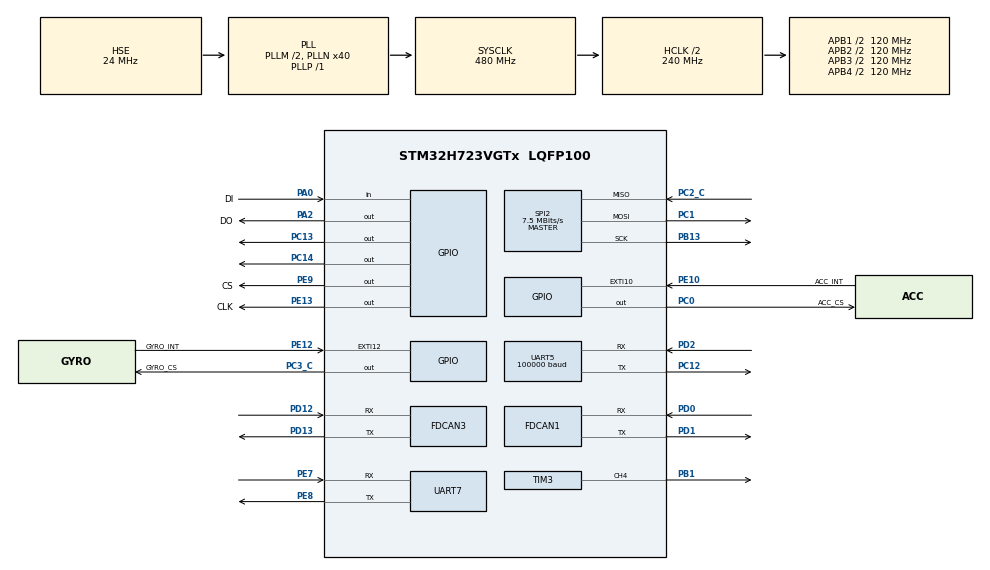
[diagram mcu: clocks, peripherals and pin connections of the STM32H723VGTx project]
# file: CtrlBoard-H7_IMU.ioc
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Dma.Request0=SPI2_RX
Dma.Request1=SPI2_TX
Dma.Request2=UART5_RX
Dma.SPI2_RX.0.Direction=DMA_PERIPH_TO_MEMORY
Dma.SPI2_RX.0.EventEnable=DISABLE
Dma.SPI2_RX.0.FIFOMode=DMA_FIFOMODE_DISABLE
Dma.SPI2_RX.0.Instance=DMA1_Stream0
Dma.SPI2_RX.0.MemDataAlignment=DMA_MDATAALIGN_BYTE
Dma.SPI2_RX.0.MemInc=DMA_MINC_ENABLE
Dma.SPI2_RX.0.Mode=DMA_NORMAL
Dma.SPI2_RX.0.PeriphDataAlignment=DMA_PDATAALIGN_BYTE
Dma.SPI2_RX.0.PeriphInc=DMA_PINC_DISABLE
Dma.SPI2_RX.0.Polarity=HAL_DMAMUX_REQ_GEN_RISING
Dma.SPI2_RX.0.Priority=DMA_PRIORITY_VERY_HIGH
Dma.SPI2_RX.0.RequestNumber=1
Dma.SPI2_RX.0.SignalID=NONE
Dma.SPI2_RX.0.SyncEnable=DISABLE
Dma.SPI2_RX.0.SyncPolarity=HAL_DMAMUX_SYNC_NO_EVENT
Dma.SPI2_RX.0.SyncRequestNumber=1
Dma.SPI2_RX.0.SyncSignalID=NONE
Dma.SPI2_TX.1.Direction=DMA_MEMORY_TO_PERIPH
Dma.SPI2_TX.1.EventEnable=DISABLE
Dma.SPI2_TX.1.FIFOMode=DMA_FIFOMODE_DISABLE
Dma.SPI2_TX.1.Instance=DMA1_Stream2
Dma.SPI2_TX.1.MemDataAlignment=DMA_MDATAALIGN_BYTE
Dma.SPI2_TX.1.MemInc=DMA_MINC_ENABLE
Dma.SPI2_TX.1.Mode=DMA_NORMAL
Dma.SPI2_TX.1.PeriphDataAlignment=DMA_PDATAALIGN_BYTE
Dma.SPI2_TX.1.PeriphInc=DMA_PINC_DISABLE
Dma.SPI2_TX.1.Polarity=HAL_DMAMUX_REQ_GEN_RISING
Dma.SPI2_TX.1.Priority=DMA_PRIORITY_HIGH
Dma.SPI2_TX.1.RequestNumber=1
Dma.SPI2_TX.1.SignalID=NONE
Dma.SPI2_TX.1.SyncEnable=DISABLE
Dma.SPI2_TX.1.SyncPolarity=HAL_DMAMUX_SYNC_NO_EVENT
Dma.SPI2_TX.1.SyncRequestNumber=1
Dma.SPI2_TX.1.SyncSignalID=NONE
Dma.UART5_RX.2.Direction=DMA_PERIPH_TO_MEMORY
Dma.UART5_RX.2.EventEnable=DISABLE
Dma.UART5_RX.2.FIFOMode=DMA_FIFOMODE_DISABLE
Dma.UART5_RX.2.Instance=DMA1_Stream1
Dma.UART5_RX.2.MemDataAlignment=DMA_MDATAALIGN_BYTE
Dma.UART5_RX.2.MemInc=DMA_MINC_ENABLE
Dma.UART5_RX.2.Mode=DMA_NORMAL
Dma.UART5_RX.2.PeriphDataAlignment=DMA_PDATAALIGN_BYTE
Dma.UART5_RX.2.PeriphInc=DMA_PINC_DISABLE
Dma.UART5_RX.2.Polarity=HAL_DMAMUX_REQ_GEN_RISING
Dma.UART5_RX.2.Priority=DMA_PRIORITY_LOW
Dma.UART5_RX.2.RequestNumber=1
Dma.UART5_RX.2.SignalID=NONE
Dma.UART5_RX.2.SyncEnable=DISABLE
Dma.UART5_RX.2.SyncPolarity=HAL_DMAMUX_SYNC_NO_EVENT
Dma.UART5_RX.2.SyncRequestNumber=1
Dma.UART5_RX.2.SyncSignalID=NONE
FDCAN1.AutoRetransmission=ENABLE
FDCAN1.CalculateBaudRateNominal=1000000
FDCAN1.CalculateTimeBitNominal=1000
FDCAN1.CalculateTimeQuantumNominal=40.0
FDCAN1.DataPrescaler=1
FDCAN1.DataSyncJumpWidth=2
FDCAN1.DataTimeSeg1=13
FDCAN1.DataTimeSeg2=2
FDCAN1.ExtFiltersNbr=4
FDCAN1.NominalPrescaler=4
FDCAN1.NominalSyncJumpWidth=20
FDCAN1.NominalTimeSeg1=19
FDCAN1.NominalTimeSeg2=5
FDCAN1.ProtocolException=ENABLE
FDCAN1.RxFifo0ElmtSize=FDCAN_DATA_BYTES_8
FDCAN1.RxFifo0ElmtsNbr=8
FDCAN1.RxFifo1ElmtSize=FDCAN_DATA_BYTES_8
FDCAN1.RxFifo1ElmtsNbr=8
FDCAN1.StdFiltersNbr=4
FDCAN1.TxBuffersNbr=8
FDCAN1.TxElmtSize=FDCAN_DATA_BYTES_8
FDCAN1.TxEventsNbr=8
FDCAN1.TxFifoQueueElmtsNbr=8
FDCAN3.CalculateBaudRateNominal=1000000
FDCAN3.CalculateTimeBitNominal=1000
FDCAN3.CalculateTimeQuantumNominal=50.0
FDCAN3.DataPrescaler=5
FDCAN3.DataTimeSeg1=14
FDCAN3.DataTimeSeg2=5
FDCAN3.ExtFiltersNbr=5
FDCAN3.MessageRAMOffset=854
FDCAN3.NominalPrescaler=5
FDCAN3.NominalTimeSeg1=14
FDCAN3.NominalTimeSeg2=5
FDCAN3.ProtocolException=ENABLE
FDCAN3.RxFifo0ElmtSize=FDCAN_DATA_BYTES_8
FDCAN3.RxFifo0ElmtsNbr=4
FDCAN3.StdFiltersNbr=5
FDCAN3.TxElmtSize=FDCAN_DATA_BYTES_16
FDCAN3.TxFifoQueueElmtsNbr=4
FREERTOS.MEMORY_ALLOCATION=0
FREERTOS.Tasks01=defaultTask,0,128,StartDefaultTask,Default,NULL,Dynamic,NULL,NULL;INS_TASK,3,512,INS_Task,Default,NULL,Dynamic,NULL,NULL;CHASSISR_TASK,1,512,ChassisR_Task,Default,NULL,Dynamic,NULL,NULL;CHASSISL_TASK,1,512,ChassisL_Task,Default,NULL,Dynamic,NULL,NULL;OBSERVE_TASK,2,512,OBSERVE_Task,Default,NULL,Dynamic,NULL,NULL;PS2_TASK,1,128,PS2_Task,Default,NULL,Dynamic,NULL,NULL
FREERTOS.configENABLE_FPU=1
FREERTOS.configTOTAL_HEAP_SIZE=30720
Mcu.Family=STM32H7
Mcu.Name=STM32H723VGTx
Mcu.Package=LQFP100
NVIC.DMA1_Stream0_IRQn=true\:6\:0\:true\:false\:true\:true\:false\:true\:true
NVIC.DMA1_Stream1_IRQn=true\:6\:0\:true\:false\:true\:true\:false\:true\:true
NVIC.DMA1_Stream2_IRQn=true\:5\:0\:false\:false\:true\:true\:false\:true\:true
NVIC.FDCAN1_IT0_IRQn=true\:6\:0\:true\:false\:true\:true\:true\:true\:true
NVIC.FDCAN3_IT0_IRQn=true\:5\:0\:false\:false\:true\:true\:true\:true\:true
NVIC.PriorityGroup=NVIC_PRIORITYGROUP_4
NVIC.SPI2_IRQn=true\:5\:0\:true\:false\:true\:true\:false\:true\:true
NVIC.TIM2_IRQn=true\:15\:0\:false\:false\:true\:false\:false\:true\:true
NVIC.TimeBase=TIM2_IRQn
NVIC.TimeBaseIP=TIM2
NVIC.UART5_IRQn=true\:5\:0\:false\:false\:true\:true\:true\:true\:true
NVIC.UART7_IRQn=true\:5\:0\:false\:false\:true\:true\:true\:true\:true
PA0.GPIO_Label=DI
PA0.GPIO_PuPd=GPIO_PULLUP
PA0.Signal=GPIO_Input
PA13(JTMS/SWDIO).Mode=Serial_Wire
PA13(JTMS/SWDIO).Signal=DEBUG_JTMS-SWDIO
PA14(JTCK/SWCLK).Mode=Serial_Wire
PA14(JTCK/SWCLK).Signal=DEBUG_JTCK-SWCLK
PA2.GPIO_Label=DO
PA2.GPIO_PuPd=GPIO_PULLUP
PA2.GPIO_Speed=GPIO_SPEED_FREQ_VERY_HIGH
PA2.PinState=GPIO_PIN_SET
PA2.Signal=GPIO_Output
PB1.Signal=S_TIM3_CH4
PB13.GPIO_Speed=GPIO_SPEED_FREQ_VERY_HIGH
PB13.Mode=Full_Duplex_Master
PB13.Signal=SPI2_SCK
PB5.Signal=FDCAN2_RX
PC0.GPIO_Label=ACC_CS
PC0.GPIO_Speed=GPIO_SPEED_FREQ_VERY_HIGH
PC0.PinState=GPIO_PIN_SET
PC0.Signal=GPIO_Output
PC1.GPIO_Speed=GPIO_SPEED_FREQ_VERY_HIGH
PC1.Mode=Full_Duplex_Master
PC1.Signal=SPI2_MOSI
PC12.Mode=Asynchronous
PC12.Signal=UART5_TX
PC13.Signal=GPIO_Output
PC14-OSC32_IN.Signal=GPIO_Output
PC2_C.GPIO_Speed=GPIO_SPEED_FREQ_VERY_HIGH
PC2_C.Mode=Full_Duplex_Master
PC2_C.Signal=SPI2_MISO
PC3_C.GPIO_Label=GYRO_CS
PC3_C.GPIO_Speed=GPIO_SPEED_FREQ_VERY_HIGH
PC3_C.PinState=GPIO_PIN_SET
PC3_C.Signal=GPIO_Output
PD0.Mode=FDCAN_Activate
PD0.Signal=FDCAN1_RX
PD1.Mode=FDCAN_Activate
PD1.Signal=FDCAN1_TX
PD12.Mode=FDCAN_Activate
PD12.Signal=FDCAN3_RX
PD13.Mode=FDCAN_Activate
PD13.Signal=FDCAN3_TX
PD2.Mode=Asynchronous
PD2.Signal=UART5_RX
PE10.GPIO_Label=ACC_INT
PE10.Signal=GPXTI10
PE12.GPIO_Label=GYRO_INT
PE12.Signal=GPXTI12
PE13.GPIO_Label=CLK
PE13.GPIO_PuPd=GPIO_PULLUP
PE13.GPIO_Speed=GPIO_SPEED_FREQ_VERY_HIGH
PE13.PinState=GPIO_PIN_SET
PE13.Signal=GPIO_Output
PE7.Mode=Asynchronous
PE7.Signal=UART7_RX
PE8.Mode=Asynchronous
PE8.Signal=UART7_TX
PE9.GPIO_Label=CS
PE9.GPIO_PuPd=GPIO_PULLUP
PE9.GPIO_Speed=GPIO_SPEED_FREQ_VERY_HIGH
PE9.PinState=GPIO_PIN_SET
PE9.Signal=GPIO_Output
PH0-OSC_IN.Mode=HSE-External-Oscillator
PH0-OSC_IN.Signal=RCC_OSC_IN
PH1-OSC_OUT.Mode=HSE-External-Oscillator
PH1-OSC_OUT.Signal=RCC_OSC_OUT
ProjectManager.HeapSize=0x200
ProjectManager.StackSize=0x800
ProjectManager.TargetToolchain=MDK-ARM V5.27
RCC.ADCFreq_Value=100000000
RCC.APB1Freq_Value=120000000
RCC.APB2Freq_Value=120000000
RCC.APB3Freq_Value=120000000
RCC.APB4Freq_Value=120000000
RCC.CortexFreq_Value=480000000
RCC.D1PPRE=RCC_APB3_DIV2
RCC.D2PPRE1=RCC_APB1_DIV2
RCC.D2PPRE2=RCC_APB2_DIV2
RCC.D3PPRE=RCC_APB4_DIV2
RCC.DIVM1=2
RCC.DIVM2=24
RCC.DIVN1=40
RCC.DIVN2=200
RCC.DIVP1=1
RCC.FDCANCLockSelection=RCC_FDCANCLKSOURCE_PLL2
RCC.HCLKFreq_Value=240000000
RCC.HPRE=RCC_HCLK_DIV2
RCC.HSE_VALUE=24000000
RCC.PLL2FRACN=0
RCC.PLL3FRACN=0
RCC.PLLFRACN=0
RCC.PLLSourceVirtual=RCC_PLLSOURCE_HSE
RCC.SYSCLKFreq_VALUE=480000000
RCC.SYSCLKSource=RCC_SYSCLKSOURCE_PLLCLK
RCC.USBFreq_Value=240000000
SH.S_TIM3_CH4.0=TIM3_CH4,PWM Generation4 CH4
SPI2.BaudRatePrescaler=SPI_BAUDRATEPRESCALER_32
SPI2.CLKPhase=SPI_PHASE_2EDGE
SPI2.CLKPolarity=SPI_POLARITY_HIGH
SPI2.CalculateBaudRate=7.5 MBits/s
SPI2.DataSize=SPI_DATASIZE_8BIT
SPI2.Direction=SPI_DIRECTION_2LINES
SPI2.Mode=SPI_MODE_MASTER
SPI2.VirtualType=VM_MASTER
TIM3.AutoReloadPreload=TIM_AUTORELOAD_PRELOAD_ENABLE
TIM3.Channel-PWM\ Generation4\ CH4=TIM_CHANNEL_4
TIM3.Period=10000-1
TIM3.Prescaler=24-1
UART5.BaudRate=100000
UART5.Mode=MODE_RX
UART5.OverrunDisableParam=UART_ADVFEATURE_OVERRUN_DISABLE
UART5.Parity=PARITY_EVEN
UART5.WordLength=WORDLENGTH_9B
VP_FREERTOS_VS_CMSIS_V1.Mode=CMSIS_V1
VP_MEMORYMAP_VS_MEMORYMAP.Mode=CurAppReg
VP_SYS_VS_tim2.Mode=TIM2
board=custom

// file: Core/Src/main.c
/* USER CODE BEGIN Header */
/**
  ******************************************************************************
  * @file           : main.c
  * @brief          : Main program body
  ******************************************************************************
  * @attention
  *
  * Copyright (c) 2024 STMicroelectronics.
  * All rights reserved.
  *
  * This software is licensed under terms that can be found in the LICENSE file
  * in the root directory of this software component.
  * If no LICENSE file comes with this software, it is provided AS-IS.
  *
  ******************************************************************************
  */
/* USER CODE END Header */
#include "main.h"
#include "cmsis_os.h"
#include "dma.h"
#include "fdcan.h"
#include "memorymap.h"
#include "spi.h"
#include "tim.h"
#include "usart.h"
#include "gpio.h"

/* USER CODE BEGIN Includes */
#include "BMI088driver.h"
#include "kalman_filter.h"
#include "mahony_filter.h"
#include "bsp_dwt.h"
#include "BMI088Middleware.h"
#include "can_bsp.h"
/* USER CODE END Includes */

void SystemClock_Config(void);
void PeriphCommonClock_Config(void);
void MX_FREERTOS_Init(void);

int main(void)
{

  /* MCU Configuration--------------------------------------------------------*/

  /* Reset of all peripherals, Initializes the Flash interface and the Systick. */
  HAL_Init();

  /* USER CODE BEGIN Init */
//06 01 00 00 00 00 00 00 00 00 00 00 00 00 80 3F
  /* USER CODE END Init */

  /* Configure the system clock */
  SystemClock_Config();

  /* Configure the peripherals common clocks */
  PeriphCommonClock_Config();

  /* Initialize all configured peripherals */
  MX_GPIO_Init();
  MX_DMA_Init();
  MX_SPI2_Init();
  MX_FDCAN1_Init();
  MX_TIM3_Init();
  MX_FDCAN3_Init();
  MX_UART5_Init();
  MX_UART7_Init();
  /* USER CODE BEGIN 2 */
	DWT_Init(480);

    /* BMI088初始化 */
  while (BMI088_init(&hspi2, 0) != BMI088_NO_ERROR)
	{
	  ;
	}
	Power_OUT1_ON;//imu初始化完成，可控电源打开，led灯亮
	Power_OUT2_ON;

    FDCAN1_Config();//can过滤器初始化
    FDCAN3_Config();

  /* USER CODE END 2 */

  /* Call init function for freertos objects (in cmsis_os2.c) */
  MX_FREERTOS_Init();

  /* Start scheduler */
  osKernelStart();

  /* We should never get here as control is now taken by the scheduler */

  /* Infinite loop */
  while (1)
  {

  }
}

void SystemClock_Config(void)
{
  RCC_OscInitTypeDef RCC_OscInitStruct = {0};
  RCC_ClkInitTypeDef RCC_ClkInitStruct = {0};

  /** Supply configuration update enable
  */
  HAL_PWREx_ConfigSupply(PWR_LDO_SUPPLY);

  /** Configure the main internal regulator output voltage
  */
  __HAL_PWR_VOLTAGESCALING_CONFIG(PWR_REGULATOR_VOLTAGE_SCALE0);

  while(!__HAL_PWR_GET_FLAG(PWR_FLAG_VOSRDY)) {}

  /** Initializes the RCC Oscillators according to the specified parameters
  * in the RCC_OscInitTypeDef structure.
  */
  RCC_OscInitStruct.OscillatorType = RCC_OSCILLATORTYPE_HSE;
  RCC_OscInitStruct.HSEState = RCC_HSE_ON;
  RCC_OscInitStruct.PLL.PLLState = RCC_PLL_ON;
  RCC_OscInitStruct.PLL.PLLSource = RCC_PLLSOURCE_HSE;
  RCC_OscInitStruct.PLL.PLLM = 2;
  RCC_OscInitStruct.PLL.PLLN = 40;
  RCC_OscInitStruct.PLL.PLLP = 1;
  RCC_OscInitStruct.PLL.PLLQ = 2;
  RCC_OscInitStruct.PLL.PLLR = 2;
  RCC_OscInitStruct.PLL.PLLRGE = RCC_PLL1VCIRANGE_3;
  RCC_OscInitStruct.PLL.PLLVCOSEL = RCC_PLL1VCOWIDE;
  RCC_OscInitStruct.PLL.PLLFRACN = 0;
  if (HAL_RCC_OscConfig(&RCC_OscInitStruct) != HAL_OK)
  {
    Error_Handler();
  }

  /** Initializes the CPU, AHB and APB buses clocks
  */
  RCC_ClkInitStruct.ClockType = RCC_CLOCKTYPE_HCLK|RCC_CLOCKTYPE_SYSCLK
                              |RCC_CLOCKTYPE_PCLK1|RCC_CLOCKTYPE_PCLK2
                              |RCC_CLOCKTYPE_D3PCLK1|RCC_CLOCKTYPE_D1PCLK1;
  RCC_ClkInitStruct.SYSCLKSource = RCC_SYSCLKSOURCE_PLLCLK;
  RCC_ClkInitStruct.SYSCLKDivider = RCC_SYSCLK_DIV1;
  RCC_ClkInitStruct.AHBCLKDivider = RCC_HCLK_DIV2;
  RCC_ClkInitStruct.APB3CLKDivider = RCC_APB3_DIV2;
  RCC_ClkInitStruct.APB1CLKDivider = RCC_APB1_DIV2;
  RCC_ClkInitStruct.APB2CLKDivider = RCC_APB2_DIV2;
  RCC_ClkInitStruct.APB4CLKDivider = RCC_APB4_DIV2;

  if (HAL_RCC_ClockConfig(&RCC_ClkInitStruct, FLASH_LATENCY_3) != HAL_OK)
  {
    Error_Handler();
  }
}

void PeriphCommonClock_Config(void)
{
  RCC_PeriphCLKInitTypeDef PeriphClkInitStruct = {0};

  /** Initializes the peripherals clock
  */
  PeriphClkInitStruct.PeriphClockSelection = RCC_PERIPHCLK_FDCAN;
  PeriphClkInitStruct.PLL2.PLL2M = 24;
  PeriphClkInitStruct.PLL2.PLL2N = 200;
  PeriphClkInitStruct.PLL2.PLL2P = 2;
  PeriphClkInitStruct.PLL2.PLL2Q = 2;
  PeriphClkInitStruct.PLL2.PLL2R = 2;
  PeriphClkInitStruct.PLL2.PLL2RGE = RCC_PLL2VCIRANGE_0;
  PeriphClkInitStruct.PLL2.PLL2VCOSEL = RCC_PLL2VCOMEDIUM;
  PeriphClkInitStruct.PLL2.PLL2FRACN = 0;
  PeriphClkInitStruct.FdcanClockSelection = RCC_FDCANCLKSOURCE_PLL2;
  if (HAL_RCCEx_PeriphCLKConfig(&PeriphClkInitStruct) != HAL_OK)
  {
    Error_Handler();
  }
}

void HAL_TIM_PeriodElapsedCallback(TIM_HandleTypeDef *htim)
{
  if (htim->Instance == TIM2) {
    HAL_IncTick();
  }
}

void Error_Handler(void)
{
  __disable_irq();
  while (1)
  {
  }
}

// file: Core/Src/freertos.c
/* USER CODE BEGIN Header */
/**
  ******************************************************************************
  * File Name          : freertos.c
  * Description        : Code for freertos applications
  ******************************************************************************
  * @attention
  *
  * Copyright (c) 2024 STMicroelectronics.
  * All rights reserved.
  *
  * This software is licensed under terms that can be found in the LICENSE file
  * in the root directory of this software component.
  * If no LICENSE file comes with this software, it is provided AS-IS.
  *
  ******************************************************************************
  */
/* USER CODE END Header */

#include "FreeRTOS.h"
#include "task.h"
#include "main.h"
#include "cmsis_os.h"

/* USER CODE BEGIN Includes */
#include "INS_task.h"
#include "chassisR_task.h"
#include "chassisL_task.h"
#include "observe_task.h"
#include "dt7_task.h"
/* USER CODE END Includes */

osThreadId defaultTaskHandle;
osThreadId INS_TASKHandle;
osThreadId CHASSISR_TASKHandle;
osThreadId CHASSISL_TASKHandle;
osThreadId OBSERVE_TASKHandle;
osThreadId PS2_TASKHandle;

void StartDefaultTask(void const * argument);
void INS_Task(void const * argument);
void ChassisR_Task(void const * argument);
void ChassisL_Task(void const * argument);
void OBSERVE_Task(void const * argument);
void PS2_Task(void const * argument);

void MX_FREERTOS_Init(void); /* (MISRA C 2004 rule 8.1) */

void MX_FREERTOS_Init(void) {

  /* Create the thread(s) */
  /* definition and creation of defaultTask */
  osThreadDef(defaultTask, StartDefaultTask, osPriorityNormal, 0, 128);
  defaultTaskHandle = osThreadCreate(osThread(defaultTask), NULL);

  /* definition and creation of INS_TASK */
  osThreadDef(INS_TASK, INS_Task, osPriorityRealtime, 0, 512);
  INS_TASKHandle = osThreadCreate(osThread(INS_TASK), NULL);

  /* definition and creation of CHASSISR_TASK */
  osThreadDef(CHASSISR_TASK, ChassisR_Task, osPriorityAboveNormal, 0, 512);
  CHASSISR_TASKHandle = osThreadCreate(osThread(CHASSISR_TASK), NULL);

  /* definition and creation of CHASSISL_TASK */
  osThreadDef(CHASSISL_TASK, ChassisL_Task, osPriorityAboveNormal, 0, 512);
  CHASSISL_TASKHandle = osThreadCreate(osThread(CHASSISL_TASK), NULL);

  /* definition and creation of OBSERVE_TASK */
  osThreadDef(OBSERVE_TASK, OBSERVE_Task, osPriorityHigh, 0, 512);
  OBSERVE_TASKHandle = osThreadCreate(osThread(OBSERVE_TASK), NULL);

  /* definition and creation of PS2_TASK */
  osThreadDef(PS2_TASK, PS2_Task, osPriorityAboveNormal, 0, 128);
  PS2_TASKHandle = osThreadCreate(osThread(PS2_TASK), NULL);

}

void StartDefaultTask(void const * argument)
{
  for(;;)
  {
    osDelay(1);
  }
}

void INS_Task(void const * argument)
{
  /* USER CODE BEGIN INS_Task */

  /* Infinite loop */
  for(;;)
  {
    INS_task();
  }
  /* USER CODE END INS_Task */
}

void ChassisR_Task(void const * argument)
{
  /* USER CODE BEGIN ChassisR_Task */
  /* Infinite loop */
  for(;;)
  {
    ChassisR_task();
  }
  /* USER CODE END ChassisR_Task */
}

void ChassisL_Task(void const * argument)
{
  /* USER CODE BEGIN ChassisL_Task */
  /* Infinite loop */
  for(;;)
  {
    ChassisL_task();
  }
  /* USER CODE END ChassisL_Task */
}

void OBSERVE_Task(void const * argument)
{
  /* USER CODE BEGIN OBSERVE_Task */
  /* Infinite loop */
  for(;;)
  {
    Observe_task();
  }
  /* USER CODE END OBSERVE_Task */
}

void PS2_Task(void const * argument)
{
  /* USER CODE BEGIN PS2_Task */
  /* Infinite loop */
  for(;;)
  {
    dt7_task();
  }
  /* USER CODE END PS2_Task */
}
